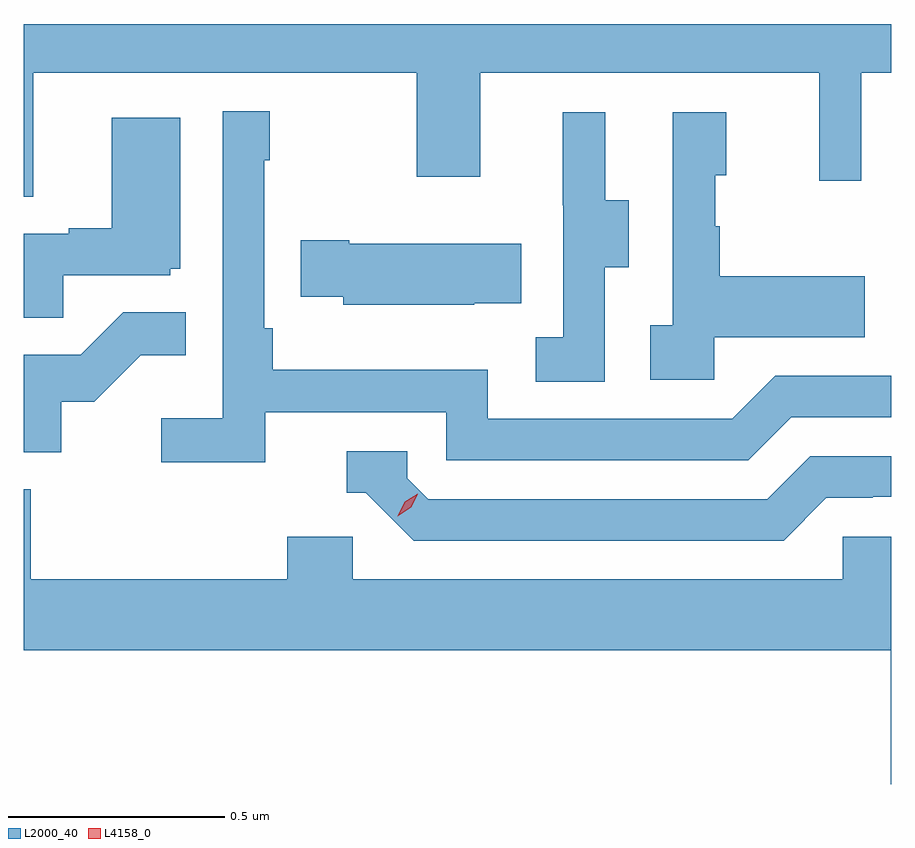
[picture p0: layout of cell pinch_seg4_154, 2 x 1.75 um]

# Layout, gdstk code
import gdstk
lib = gdstk.Library(unit=1e-6, precision=1e-09)
def P(c, l, *ps):  # polygons
    for p in ps: c.add(gdstk.Polygon(p, *l))
L2000_40 = (2000, 40)
L4158_0 = (4158, 0)

pinch_seg4_154 = lib.new_cell('pinch_seg4_154')
P(pinch_seg4_154, L2000_40, [(1125.091,792.824),(1125.976,792.824),(1125.976,792.585),(1126.123,792.585),(1126.123,792.824),(1126.904,792.824),(1126.904,792.576),(1127.001,792.576),(1127.001,792.824),(1127.07,792.824),(1127.07,792.937),(1125.07,792.937),(1125.07,792.538),(1125.091,792.538)],
  [(1125.626,792.042),(1126.044,792.042),(1126.044,791.931),(1126.741,791.931),(1126.84,792.03),(1127.07,792.03),(1127.07,792.126),(1126.803,792.126),(1126.704,792.027),(1126.14,792.027),(1126.14,792.139),(1125.644,792.139),(1125.644,792.235),(1125.624,792.235),(1125.624,792.623),(1125.637,792.623),(1125.637,792.736),(1125.528,792.736),(1125.528,792.028),(1125.387,792.028),(1125.387,791.926),(1125.626,791.926)],
  [(1126.662,792.215),(1127.009,792.215),(1127.009,792.355),(1126.675,792.355),(1126.675,792.47),(1126.665,792.47),(1126.665,792.588),(1126.69,792.588),(1126.69,792.733),(1126.566,792.733),(1126.566,792.242),(1126.515,792.242),(1126.515,792.117),(1126.662,792.117)],
  [(1126.41,792.376),(1126.465,792.376),(1126.465,792.531),(1126.411,792.531),(1126.411,792.733),(1126.313,792.733),(1126.313,792.519),(1126.314,792.519),(1126.314,792.215),(1126.251,792.215),(1126.251,792.112),(1126.41,792.112)],
  [(1125.161,792.357),(1125.408,792.357),(1125.408,792.372),(1125.43,792.372),(1125.43,792.721),(1125.272,792.721),(1125.272,792.466),(1125.173,792.466),(1125.173,792.453),(1125.07,792.453),(1125.07,792.259),(1125.161,792.259)],
  [(1126.109,792.293),(1126.217,792.293),(1126.217,792.43),(1125.82,792.43),(1125.82,792.438),(1125.709,792.438),(1125.709,792.308),(1125.807,792.308),(1125.807,792.29),(1126.109,792.29)],
  [(1125.156,792.066),(1125.232,792.066),(1125.339,792.173),(1125.443,792.173),(1125.443,792.272),(1125.299,792.272),(1125.201,792.174),(1125.07,792.174),(1125.07,791.949),(1125.156,791.949)],
  [(1126.921,791.844),(1127.028,791.844),(1127.028,791.847),(1127.07,791.847),(1127.07,791.94),(1126.884,791.94),(1126.785,791.841),(1126.002,791.841),(1125.954,791.889),(1125.954,791.952),(1125.815,791.952),(1125.815,791.856),(1125.858,791.856),(1125.969,791.745),(1126.822,791.745)],
  [(1127.07,791.754),(1126.959,791.754),(1126.959,791.656),(1125.828,791.656),(1125.828,791.754),(1125.677,791.754),(1125.677,791.656),(1125.086,791.656),(1125.086,791.864),(1125.07,791.864),(1125.07,791.492),(1127.069,791.492),(1127.069,791.184),(1127.07,791.184)])
P(pinch_seg4_154, L4158_0, [(1125.932,791.802),(1125.932,791.802),(1125.948,791.835),(1125.978,791.854),(1125.978,791.854),(1125.978,791.854),(1125.963,791.822),(1125.932,791.802)])

lib.write_gds('pinch_seg4_154.gds')
